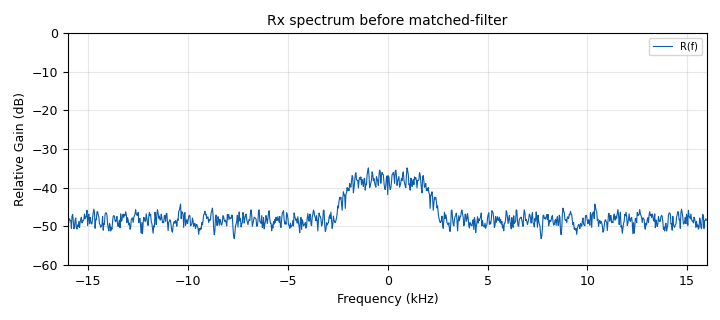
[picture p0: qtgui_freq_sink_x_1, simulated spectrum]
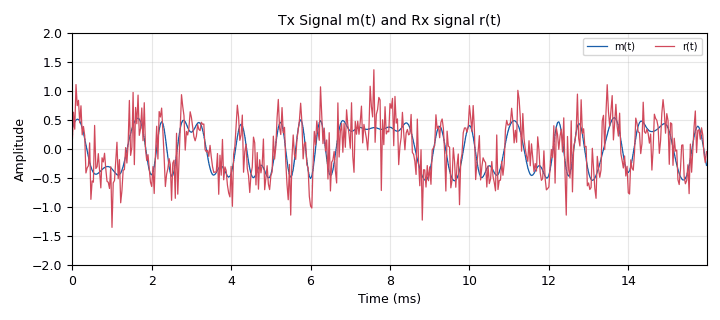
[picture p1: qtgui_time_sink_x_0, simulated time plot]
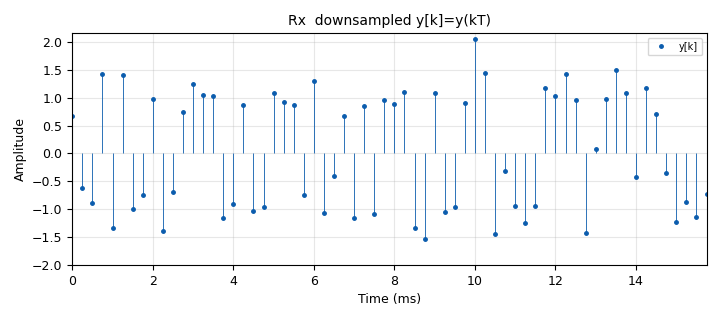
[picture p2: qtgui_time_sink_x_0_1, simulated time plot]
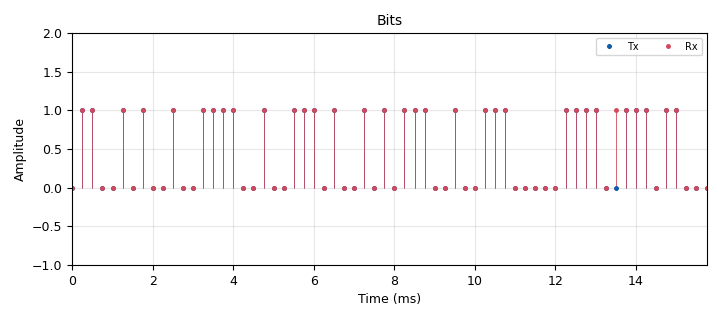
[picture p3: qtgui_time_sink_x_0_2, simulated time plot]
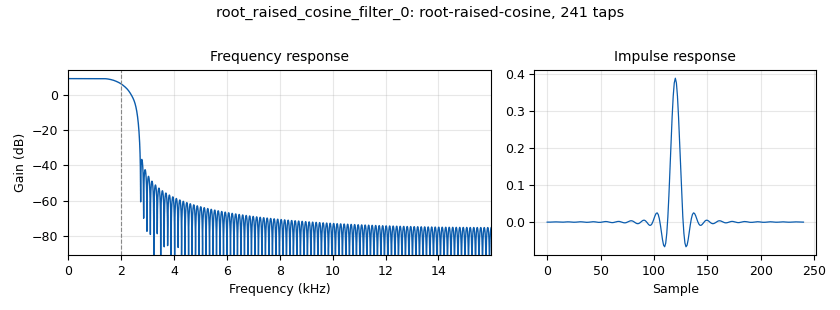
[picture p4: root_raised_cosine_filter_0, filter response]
options:
  parameters:
    comment: |-
      BipolarNRZ with up- and
      downsampling in the RRCS filters
    description: 'BipolarNRZ with up- and downsampling in the RRCS filters '
    generate_options: qt_gui
    id: BipolarNRZ
    output_language: python
    title: BipolarNRZ
  states: {}

blocks:
- name: SNR
  id: variable_qtgui_range
  parameters:
    comment: 0,1,1,1
    gui_hint: 0,1,1,1
    label: SNR
    start: '-10'
    step: '1'
    stop: '40'
    value: '10'
  states: {}
- name: degree_glfsr
  id: variable
  parameters:
    comment: |-
      Degree of
      m-sequence
      is length of shift
      register
    value: '14'
  states: {}
- name: delay
  id: variable_qtgui_range
  parameters:
    comment: 0,0,1,1
    gui_hint: 0,0,1,1
    label: Delay
    start: '0'
    step: '1'
    stop: '200'
    value: nsymbols_rrcs
  states: {}
- name: m_sequence_length
  id: variable
  parameters:
    comment: Length of m-sequence
    value: int(2**degree_glfsr-1)
  states: {}
- name: nsymbols_rrcs
  id: variable
  parameters:
    comment: |-
      Number of symbol periods
      for length of RRCS filter
      impulse response
    value: '30'
  states: {}
- name: nsymbols_sink
  id: variable
  parameters:
    comment: |-
      Number of symbols shown
      in the sink blocks
    value: '64'
  states: {}
- name: samp_rate
  id: variable
  parameters:
    value: '32000'
  states: {}
- name: sps
  id: variable
  parameters:
    comment: |-
      Number of samples per symbol period.
      Can bee seen as the discrete-time 
      symbol period.
    value: '8'
  states: {}
- name: analog_noise_source_x_0
  id: analog_noise_source_x
  parameters:
    amp: 10**(-SNR/20)
    comment: |-
      Generate
      WGN
    noise_type: analog.GR_GAUSSIAN
    seed: '0'
    type: float
  states: {}
- name: blocks_add_xx_0
  id: blocks_add_xx
  parameters:
    type: float
  states: {}
- name: blocks_char_to_float_0
  id: blocks_char_to_float
  parameters:
    scale: '1'
  states: {}
- name: blocks_char_to_float_0_0
  id: blocks_char_to_float
  parameters:
    scale: '1'
  states: {}
- name: blocks_delay_0
  id: blocks_delay
  parameters:
    comment: |-
      Compensate
      filter delay
    delay: delay
    type: byte
  states: {}
- name: blocks_float_to_char_0
  id: blocks_float_to_char
  parameters:
    scale: '1'
  states: {}
- name: blocks_repack_bits_bb_0
  id: blocks_repack_bits_bb
  parameters:
    endianness: gr.GR_LSB_FIRST
    k: '1'
    l: '8'
  states: {}
- name: blocks_repack_bits_bb_0_0
  id: blocks_repack_bits_bb
  parameters:
    endianness: gr.GR_LSB_FIRST
    k: '1'
    l: '8'
  states: {}
- name: blocks_threshold_ff_0
  id: blocks_threshold_ff
  parameters:
    comment: Decision device
    high: '0'
    init: '0'
    low: '0'
  states: {}
- name: digital_glfsr_source_x_0
  id: digital_glfsr_source_x
  parameters:
    comment: |-
      Generate pseudo random
      maximum length binary
      shift register sequence
      a.k.a. m-sequence.
    degree: degree_glfsr
    mask: '0'
    repeat: 'True'
    seed: '1'
    type: byte
  states: {}
- name: digital_map_bb_1
  id: digital_map_bb
  parameters:
    comment: |-
      0 -> -1
      1  ->  1
    map: '[-1, 1]'
  states: {}
- name: fec_ber_bf_0
  id: fec_ber_bf
  parameters:
    test_mode: 'False'
  states: {}
- name: import_0
  id: import
  parameters:
    imports: import numpy as np
  states: {}
- name: qtgui_freq_sink_x_1
  id: qtgui_freq_sink_x
  parameters:
    average: '0.05'
    bw: samp_rate
    fc: '0'
    fftsize: '1024'
    grid: 'True'
    gui_hint: 2,2,1,2
    label1: R(f)
    name: '"Rx spectrum before matched-filter"'
    type: float
    ymax: '0'
    ymin: '-60'
  states: {}
- name: qtgui_number_sink_0
  id: qtgui_number_sink
  parameters:
    graph_type: qtgui.NUM_GRAPH_HORIZ
    gui_hint: 0,2,1,1
    label1: BER
    min: '-10'
    name: '"BER"'
    type: float
  states: {}
- name: qtgui_time_sink_x_0
  id: qtgui_time_sink_x
  parameters:
    comment: 1,2,1,2
    grid: 'True'
    gui_hint: 1,2,1,2
    label1: m(t)
    label2: r(t)
    name: '"Tx Signal m(t) and Rx signal r(t)"'
    nconnections: '2'
    size: nsymbols_sink*sps
    srate: samp_rate
    type: float
    ymax: '2'
    ymin: '-2'
  states: {}
- name: qtgui_time_sink_x_0_1
  id: qtgui_time_sink_x
  parameters:
    comment: 2,0,1,2
    grid: 'True'
    gui_hint: 2,0,1,2
    label1: y[k]
    marker1: '0'
    name: '"Rx  downsampled y[k]=y(kT)"'
    size: nsymbols_sink
    srate: samp_rate/sps
    stemplot: 'True'
    type: float
    ymax: '2'
    ymin: '-2'
  states: {}
- name: qtgui_time_sink_x_0_2
  id: qtgui_time_sink_x
  parameters:
    comment: 1,0,1,2
    grid: 'True'
    gui_hint: 1,0,1,2
    label1: Tx
    label2: Rx
    marker1: '0'
    marker2: '0'
    name: Bits
    nconnections: '2'
    size: nsymbols_sink
    srate: samp_rate/sps
    stemplot: 'True'
    tr_mode: qtgui.TRIG_MODE_AUTO
    type: float
    ymax: '2'
  states: {}
- name: root_raised_cosine_filter_0
  id: root_raised_cosine_filter
  parameters:
    alpha: '0.35'
    comment: |-
      Tx filter with upsamling or
      interpolation from symbol rate
      to sampling rate.
    gain: np.sqrt(sps)
    interp: sps
    ntaps: nsymbols_rrcs*sps
    samp_rate: samp_rate
    sym_rate: samp_rate/sps
    type: interp_fir_filter_fff
  states: {}
- name: root_raised_cosine_filter_0_0
  id: root_raised_cosine_filter
  parameters:
    alpha: '0.35'
    comment: |-
      Matched filter with downsampling
      or decimation from sampling to
      symbol rate. 
      Now, eye diagram and spectrum
      of the output signal (without decimation)
      can no longer be measured!
    decim: sps
    gain: np.sqrt(sps)
    ntaps: nsymbols_rrcs*sps
    samp_rate: samp_rate
    sym_rate: samp_rate/sps
    type: fir_filter_fff
  states: {}
- name: virtual_sink_0
  id: virtual_sink
  parameters:
    stream_id: TxBits
  states: {}
- name: virtual_source_0
  id: virtual_source
  parameters:
    stream_id: TxBits
  states: {}

connections:
- [analog_noise_source_x_0, '0', blocks_add_xx_0, '1']
- [blocks_add_xx_0, '0', qtgui_freq_sink_x_1, '0']
- [blocks_add_xx_0, '0', qtgui_time_sink_x_0, '1']
- [blocks_add_xx_0, '0', root_raised_cosine_filter_0_0, '0']
- [blocks_char_to_float_0, '0', root_raised_cosine_filter_0, '0']
- [blocks_char_to_float_0_0, '0', qtgui_time_sink_x_0_2, '0']
- [blocks_delay_0, '0', blocks_char_to_float_0_0, '0']
- [blocks_delay_0, '0', virtual_sink_0, '0']
- [blocks_float_to_char_0, '0', blocks_repack_bits_bb_0, '0']
- [blocks_repack_bits_bb_0, '0', fec_ber_bf_0, '0']
- [blocks_repack_bits_bb_0_0, '0', fec_ber_bf_0, '1']
- [blocks_threshold_ff_0, '0', blocks_float_to_char_0, '0']
- [blocks_threshold_ff_0, '0', qtgui_time_sink_x_0_2, '1']
- [digital_glfsr_source_x_0, '0', blocks_delay_0, '0']
- [digital_glfsr_source_x_0, '0', digital_map_bb_1, '0']
- [digital_map_bb_1, '0', blocks_char_to_float_0, '0']
- [fec_ber_bf_0, '0', qtgui_number_sink_0, '0']
- [root_raised_cosine_filter_0, '0', blocks_add_xx_0, '0']
- [root_raised_cosine_filter_0, '0', qtgui_time_sink_x_0, '0']
- [root_raised_cosine_filter_0_0, '0', blocks_threshold_ff_0, '0']
- [root_raised_cosine_filter_0_0, '0', qtgui_time_sink_x_0_1, '0']
- [virtual_source_0, '0', blocks_repack_bits_bb_0_0, '0']

metadata:
  file_format: 1
  grc_version: 3.10.10.0
